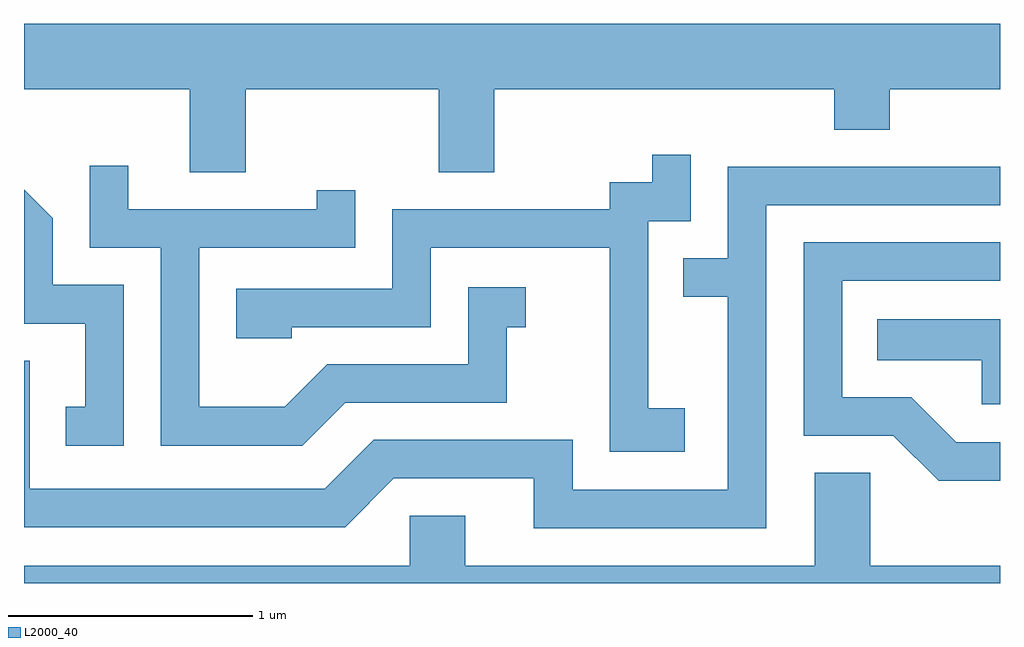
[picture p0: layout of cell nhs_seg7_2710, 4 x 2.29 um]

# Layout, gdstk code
import gdstk
lib = gdstk.Library(unit=1e-6, precision=1e-09)
def P(c, l, *ps):  # polygons
    for p in ps: c.add(gdstk.Polygon(p, *l))
L2000_40 = (2000, 40)

nhs_seg7_2710 = lib.new_cell('nhs_seg7_2710')
P(nhs_seg7_2710, L2000_40, [(268.519,1754.276),(269.311,1754.276),(269.311,1753.936),(269.539,1753.936),(269.539,1754.276),(270.931,1754.276),(270.931,1754.111),(271.159,1754.111),(271.159,1754.276),(271.611,1754.276),(271.611,1754.544),(267.611,1754.544),(267.611,1754.276),(268.291,1754.276),(268.291,1753.936),(268.519,1753.936)],
  [(270.319,1752.969),(270.169,1752.969),(270.169,1753.736),(270.344,1753.736),(270.344,1754.008),(270.186,1754.008),(270.186,1753.894),(270.011,1753.894),(270.011,1753.784),(269.121,1753.784),(269.121,1753.459),(268.481,1753.459),(268.481,1753.256),(268.709,1753.256),(268.709,1753.301),(269.279,1753.301),(269.279,1753.626),(270.011,1753.626),(270.011,1752.791),(270.319,1752.791)],
  [(268.927,1752.991),(269.589,1752.991),(269.589,1753.301),(269.668,1753.301),(269.668,1753.464),(269.431,1753.464),(269.431,1753.149),(268.854,1753.149),(268.679,1752.974),(268.329,1752.974),(268.329,1753.626),(268.969,1753.626),(268.969,1753.863),(268.811,1753.863),(268.811,1753.784),(268.039,1753.784),(268.039,1753.963),(267.881,1753.963),(267.881,1753.626),(268.171,1753.626),(268.171,1752.816),(268.752,1752.816)],
  [(270.654,1753.801),(271.611,1753.801),(271.611,1753.959),(270.496,1753.959),(270.496,1753.584),(270.313,1753.584),(270.313,1753.426),(270.496,1753.426),(270.496,1752.634),(269.859,1752.634),(269.859,1752.839),(269.044,1752.839),(268.844,1752.639),(267.634,1752.639),(267.634,1753.164),(267.611,1753.164),(267.611,1752.481),(268.927,1752.481),(269.127,1752.681),(269.701,1752.681),(269.701,1752.476),(270.654,1752.476)],
  [(268.019,1753.474),(267.729,1753.474),(267.729,1753.747),(267.611,1753.865),(267.611,1753.316),(267.861,1753.316),(267.861,1752.974),(267.783,1752.974),(267.783,1752.816),(268.019,1752.816)],
  [(271.611,1752.829),(271.432,1752.829),(271.247,1753.014),(270.964,1753.014),(270.964,1753.491),(271.611,1753.491),(271.611,1753.649),(270.806,1753.649),(270.806,1752.856),(271.174,1752.856),(271.359,1752.671),(271.611,1752.671)],
  [(271.611,1753.334),(271.108,1753.334),(271.108,1753.166),(271.536,1753.166),(271.536,1752.986),(271.611,1752.986)],
  [(271.611,1752.324),(271.079,1752.324),(271.079,1752.704),(270.851,1752.704),(270.851,1752.324),(269.419,1752.324),(269.419,1752.529),(269.191,1752.529),(269.191,1752.324),(267.611,1752.324),(267.611,1752.252),(271.611,1752.252)])

lib.write_gds('nhs_seg7_2710.gds')
